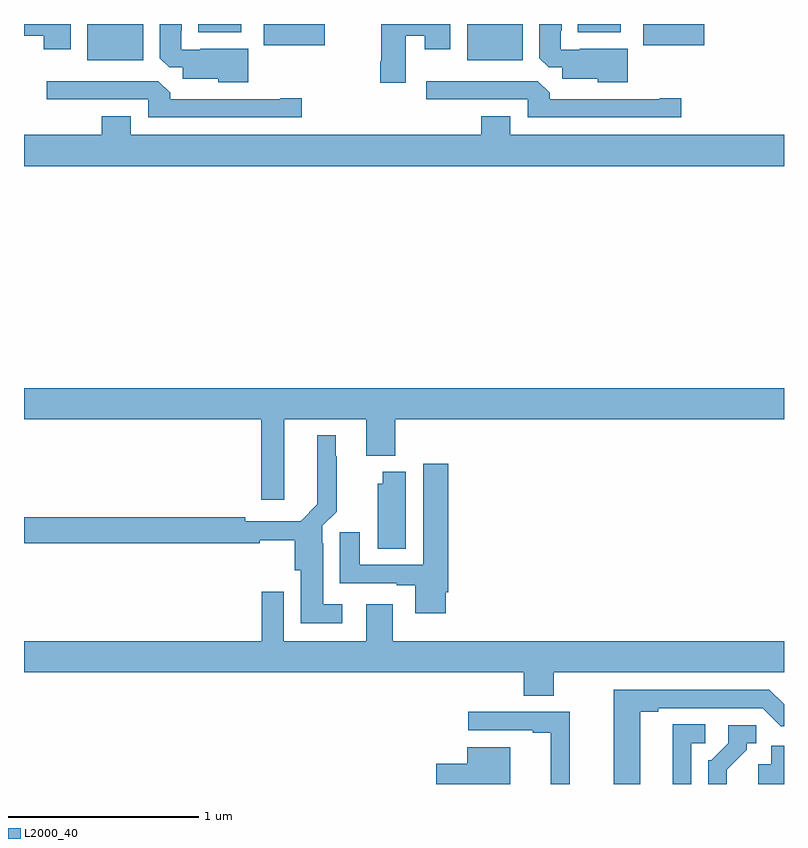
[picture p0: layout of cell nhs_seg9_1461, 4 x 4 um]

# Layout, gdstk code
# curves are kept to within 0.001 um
import gdstk
lib = gdstk.Library(unit=1e-6, precision=1e-09)
def R(c, l, rs):  # rectangles x0, y0, x1, y1
    for r in rs: c.add(gdstk.rectangle(r[:2], r[2:], *l))
def P(c, l, *ps):  # polygons
    for p in ps: c.add(gdstk.Polygon(p, *l))
L2000_40 = (2000, 40)

nhs_seg9_1461 = lib.new_cell('nhs_seg9_1461')
R(nhs_seg9_1461, L2000_40, [(193.334,1198.31,193.627,1198.5), (195.332,1198.31,195.625,1198.5), (194.262,1198.388,194.582,1198.5), (196.26,1198.388,196.58,1198.5), (193.916,1198.457,194.143,1198.5), (195.914,1198.457,196.141,1198.5)])
P(nhs_seg9_1461, L2000_40, [(196.177,1198.369),(195.925,1198.369),(195.925,1198.365),(195.825,1198.365),(195.825,1198.465),(195.829,1198.465),(195.829,1198.5),(195.713,1198.5),(195.713,1198.321),(195.762,1198.272),(195.833,1198.272),(195.833,1198.211),(196.02,1198.211),(196.02,1198.193),(196.177,1198.193)],
  [(195.01,1198.439),(195.11,1198.439),(195.11,1198.368),(195.244,1198.368),(195.244,1198.5),(194.881,1198.5),(194.881,1198.303),(194.876,1198.303),(194.876,1198.191),(195.01,1198.191)],
  [(193.246,1198.5),(193,1198.5),(193,1198.439),(193.105,1198.439),(193.105,1198.368),(193.246,1198.368)],
  [(194.179,1198.369),(193.927,1198.369),(193.927,1198.365),(193.827,1198.365),(193.827,1198.465),(193.831,1198.465),(193.831,1198.5),(193.715,1198.5),(193.715,1198.321),(193.764,1198.272),(193.835,1198.272),(193.835,1198.211),(194.022,1198.211),(194.022,1198.193),(194.179,1198.193)],
  [(194.461,1198.109),(194.348,1198.109),(194.348,1198.104),(193.769,1198.104),(193.769,1198.138),(193.707,1198.2),(193.119,1198.2),(193.119,1198.104),(193.653,1198.104),(193.653,1198.008),(194.461,1198.008)],
  [(196.459,1198.109),(196.346,1198.109),(196.346,1198.104),(195.767,1198.104),(195.767,1198.138),(195.705,1198.2),(195.117,1198.2),(195.117,1198.104),(195.651,1198.104),(195.651,1198.008),(196.459,1198.008)],
  [(197,1197.916),(195.559,1197.916),(195.559,1198.015),(195.407,1198.015),(195.407,1197.916),(193.561,1197.916),(193.561,1198.015),(193.409,1198.015),(193.409,1197.916),(193,1197.916),(193,1197.752),(197,1197.752)],
  [(194.371,1196.42),(194.801,1196.42),(194.801,1196.228),(194.954,1196.228),(194.954,1196.42),(197,1196.42),(197,1196.584),(193,1196.584),(193,1196.42),(194.249,1196.42),(194.249,1195.995),(194.371,1195.995)],
  [(194.674,1195.447),(194.575,1195.447),(194.575,1195.766),(194.571,1195.766),(194.571,1195.86),(194.645,1195.934),(194.645,1196.225),(194.641,1196.225),(194.641,1196.335),(194.543,1196.335),(194.544,1195.972),(194.456,1195.884),(194.165,1195.884),(194.165,1195.904),(193,1195.904),(193,1195.768),(194.242,1195.768),(194.242,1195.783),(194.426,1195.783),(194.426,1195.626),(194.456,1195.626),(194.456,1195.346),(194.674,1195.346)],
  [(195.22,1195.51),(195.233,1195.51),(195.233,1196.185),(195.101,1196.185),(195.101,1195.653),(194.767,1195.653),(194.767,1195.825),(194.663,1195.825),(194.663,1195.557),(194.963,1195.557),(194.963,1195.545),(195.059,1195.545),(195.059,1195.398),(195.22,1195.398)],
  [(195.01,1196.143),(194.888,1196.143),(194.888,1196.079),(194.861,1196.079),(194.861,1195.738),(195.01,1195.738)],
  [(195.789,1195.088),(197,1195.088),(197,1195.252),(194.941,1195.252),(194.941,1195.447),(194.801,1195.447),(194.801,1195.252),(194.367,1195.252),(194.367,1195.513),(194.251,1195.513),(194.251,1195.252),(193,1195.252),(193,1195.088),(195.629,1195.088),(195.629,1194.964),(195.789,1194.964)],
  [(196.243,1194.88),(196.339,1194.88),(196.339,1194.9),(196.887,1194.9),(196.983,1194.804),(197,1194.804),(197,1194.919),(196.923,1194.996),(196.103,1194.996),(196.103,1194.5),(196.243,1194.5)],
  [(195.873,1194.879),(195.339,1194.879),(195.339,1194.783),(195.677,1194.783),(195.677,1194.771),(195.773,1194.771),(195.773,1194.5),(195.873,1194.5)],
  [(196.512,1194.714),(196.585,1194.714),(196.585,1194.815),(196.415,1194.815),(196.415,1194.5),(196.512,1194.5)],
  [(196.699,1194.574),(196.804,1194.679),(196.804,1194.714),(196.854,1194.714),(196.854,1194.81),(196.707,1194.81),(196.707,1194.714),(196.617,1194.624),(196.602,1194.624),(196.602,1194.5),(196.699,1194.5)],
  [(197,1194.702),(196.934,1194.702),(196.934,1194.604),(196.865,1194.604),(196.865,1194.5),(197,1194.5)],
  [(195.559,1194.694),(195.332,1194.694),(195.332,1194.607),(195.171,1194.607),(195.171,1194.5),(195.559,1194.5)])

lib.write_gds('nhs_seg9_1461.gds')
